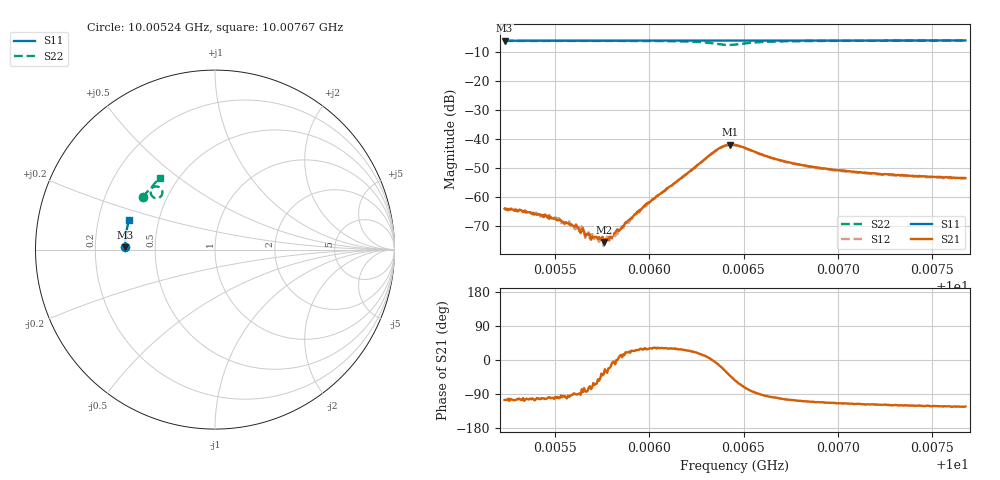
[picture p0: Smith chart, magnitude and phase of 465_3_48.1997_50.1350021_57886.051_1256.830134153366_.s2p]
#  HZ  S  RI  R  50.00
! Rohde & Schwarz Vector Network Analyzer
! Rohde-Schwarz,ZNB20-2Port,1311601062101988,3.16
! Created: UTC 3/20/2024, 11:56:55 AM
! freq[Hz]  re:S11  im:S11  re:S21  im:S21  re:S12  im:S12  re:S22  im:S22
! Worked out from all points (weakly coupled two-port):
!   401 points, 10.00524 GHz to 10.00767 GHz, reference 50 ohm
!   highest |S21| = -41.86 dB at 10.00643 GHz (marker M1); lowest = -75.6 dB at 10.00576 GHz (marker M2)
!   lowest |S11| = -6.0 dB at 10.00524 GHz (marker M3), VSWR 3.01, Z = 16.6 + j0.532 ohm
!   |S11| at or under -10 dB: nowhere
!   |S22| runs from -7.5 to -6.0 dB; largest |S21 - S12| = 0.00053
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1.0005235e10  -0.5009 0.012  -0.000168 -0.000608  -0.000112 -0.000606  -0.401 0.291
1.0005302e10  -0.5009 0.0163  -0.000142 -0.000548  -0.000142 -0.000565  -0.3983 0.2951
1.0005461e10  -0.5007 0.0266  -8.57e-05 -0.000436  -5.8e-05 -0.000466  -0.3917 0.3044
1.0005516e10  -0.5007 0.0304  -5.11e-05 -0.000395  -2.65e-05 -0.000419  -0.3893 0.3077
1.0005607e10  -0.5005 0.0362  5.14e-06 -0.000309  4.45e-06 -0.000277  -0.385 0.3132
1.0005644e10  -0.5004 0.0387  5.8e-05 -0.000256  4.21e-05 -0.000308  -0.3834 0.3154
1.0005674e10  -0.5003 0.0407  3.4e-05 -0.000221  4.5e-05 -0.000236  -0.3818 0.3174
1.000576e10  -0.5 0.0461  0.000132 -0.000102  0.000123 -7.1e-05  -0.3774 0.3227
1.0005772e10  -0.5 0.0469  0.000165 -9.44e-05  0.000141 -7.72e-05  -0.3767 0.3233
1.000579e10  -0.4998 0.0482  0.00019 -7.4e-05  0.000172 -4.7e-05  -0.3756 0.3246
1.0005821e10  -0.4996 0.0501  0.000237 -4.74e-05  0.00021 -1.84e-05  -0.3738 0.3265
1.0005851e10  -0.4995 0.0522  0.000275 6.52e-05  0.000293 7.32e-05  -0.372 0.3285
1.0005882e10  -0.4994 0.0541  0.000341 0.000125  0.000356 0.000155  -0.3701 0.3304
1.0005985e10  -0.4988 0.0608  0.000678 0.000362  0.000574 0.000393  -0.3628 0.3374
1.0006052e10  -0.4984 0.0652  0.000942 0.000572  0.000916 0.000621  -0.3566 0.3421
1.0006357e10  -0.4954 0.0846  0.00642 -0.000923  0.00633 -0.000593  -0.2954 0.3302
1.000643e10  -0.4947 0.089  0.00597 -0.00544  0.00613 -0.00496  -0.3064 0.2922
1.0006455e10  -0.4946 0.0904  0.00469 -0.00644  0.00502 -0.00602  -0.3194 0.2867
1.000668e10  -0.4928 0.1049  -0.000804 -0.00436  -0.000612 -0.00433  -0.3578 0.329
1.0006863e10  -0.4907 0.1165  -0.00115 -0.00313  -0.00101 -0.00315  -0.3497 0.3499
1.0007272e10  -0.4847 0.1422  -0.00116 -0.00215  -0.00109 -0.00217  -0.3286 0.3771
1.0007674e10  -0.4775 0.1673  -0.00115 -0.00179  -0.00109 -0.00179  -0.308 0.3971
